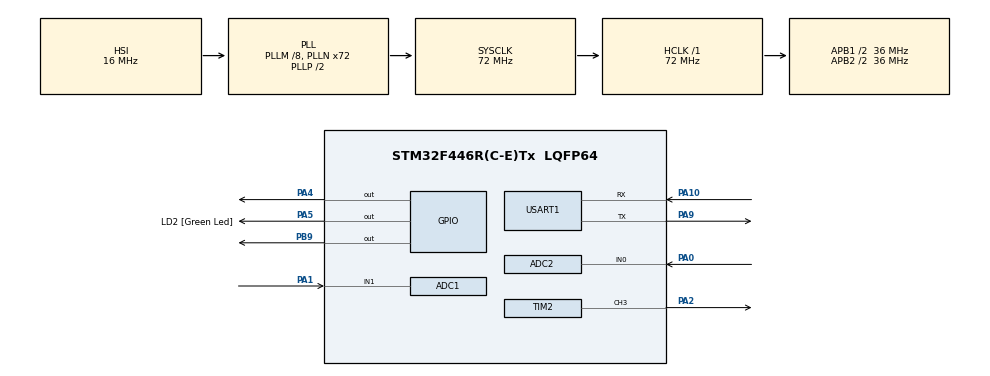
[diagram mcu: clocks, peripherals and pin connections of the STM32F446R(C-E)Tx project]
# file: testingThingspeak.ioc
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ADC1.Channel-0\#ChannelRegularConversion=ADC_CHANNEL_1
ADC1.ClockPrescaler=ADC_CLOCK_SYNC_PCLK_DIV4
ADC1.ContinuousConvMode=ENABLE
ADC1.NbrOfConversionFlag=1
ADC1.Rank-0\#ChannelRegularConversion=1
ADC1.Resolution=ADC_RESOLUTION_10B
ADC1.SamplingTime-0\#ChannelRegularConversion=ADC_SAMPLETIME_3CYCLES
ADC1.master=1
ADC2.Channel-0\#ChannelRegularConversion=ADC_CHANNEL_0
ADC2.ClockPrescaler=ADC_CLOCK_SYNC_PCLK_DIV4
ADC2.ContinuousConvMode=ENABLE
ADC2.NbrOfConversionFlag=1
ADC2.Rank-0\#ChannelRegularConversion=1
ADC2.Resolution=ADC_RESOLUTION_10B
ADC2.SamplingTime-0\#ChannelRegularConversion=ADC_SAMPLETIME_3CYCLES
FREERTOS.Tasks01=defaultTask,0,128,StartDefaultTask,Default,NULL,Dynamic,NULL,NULL;Task2,1,128,Task2_int,Default,NULL,Dynamic,NULL,NULL;Task3,0,128,Task3_int,Default,NULL,Dynamic,NULL,NULL;Task4,0,128,Task4_int,Default,NULL,Dynamic,NULL,NULL
FREERTOS.configUSE_NEWLIB_REENTRANT=0
Mcu.Family=STM32F4
Mcu.Name=STM32F446R(C-E)Tx
Mcu.Package=LQFP64
NVIC.PriorityGroup=NVIC_PRIORITYGROUP_4
NVIC.TIM3_IRQn=true\:15\:0\:false\:false\:true\:false\:false\:true\:true
NVIC.TimeBase=TIM3_IRQn
NVIC.TimeBaseIP=TIM3
NVIC.USART1_IRQn=true\:5\:0\:false\:false\:true\:true\:true\:true\:true
PA0-WKUP.Signal=ADCx_IN0
PA1.Signal=ADCx_IN1
PA10.Mode=Asynchronous
PA10.Signal=USART1_RX
PA13.Mode=Serial_Wire
PA13.Signal=SYS_JTMS-SWDIO
PA14.Mode=Serial_Wire
PA14.Signal=SYS_JTCK-SWCLK
PA2.Signal=S_TIM2_CH3
PA4.Signal=GPIO_Output
PA5.GPIO_Label=LD2 [Green Led]
PA5.Signal=GPIO_Output
PA9.Mode=Asynchronous
PA9.Signal=USART1_TX
PB9.Signal=GPIO_Output
PH0-OSC_IN.Mode=HSE-External-Oscillator
PH0-OSC_IN.Signal=RCC_OSC_IN
PH1-OSC_OUT.Mode=HSE-External-Oscillator
PH1-OSC_OUT.Signal=RCC_OSC_OUT
ProjectManager.HeapSize=0x200
ProjectManager.StackSize=0x400
ProjectManager.TargetToolchain=STM32CubeIDE
RCC.48MHZClocksFreq_Value=84000000
RCC.AHBFreq_Value=72000000
RCC.APB1CLKDivider=RCC_HCLK_DIV2
RCC.APB1Freq_Value=36000000
RCC.APB1TimFreq_Value=72000000
RCC.APB2CLKDivider=RCC_HCLK_DIV2
RCC.APB2Freq_Value=36000000
RCC.APB2TimFreq_Value=72000000
RCC.CortexFreq_Value=72000000
RCC.FLatency-AdvancedSettings=FLASH_LATENCY_2
RCC.HCLKFreq_Value=72000000
RCC.HSE_VALUE=8000000
RCC.HSI_VALUE=16000000
RCC.PLLM=8
RCC.PLLN=72
RCC.SYSCLKFreq_VALUE=72000000
RCC.SYSCLKSource=RCC_SYSCLKSOURCE_PLLCLK
RCC.USBFreq_Value=72000000
RCC.VCOOutputFreq_Value=144000000
SH.ADCx_IN0.0=ADC2_IN0,IN0
SH.ADCx_IN1.0=ADC1_IN1,IN1
SH.S_TIM2_CH3.0=TIM2_CH3,PWM Generation3 CH3
TIM1.Prescaler=71
TIM2.Channel-PWM\ Generation3\ CH3=TIM_CHANNEL_3
USART1.VirtualMode=VM_ASYNC
VP_FREERTOS_VS_CMSIS_V1.Mode=CMSIS_V1
VP_SYS_VS_tim3.Mode=TIM3
VP_TIM1_VS_ClockSourceINT.Mode=Internal
board=NUCLEO-F446RE

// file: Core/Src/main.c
/* USER CODE BEGIN Header */
/**
  ******************************************************************************
  * @file           : main.c
  * @brief          : Main program body
  ******************************************************************************
  * @attention
  *
  * Copyright (c) 2022 STMicroelectronics.
  * All rights reserved.
  *
  * This software is licensed under terms that can be found in the LICENSE file
  * in the root directory of this software component.
  * If no LICENSE file comes with this software, it is provided AS-IS.
  *
  ******************************************************************************
  */
/* USER CODE END Header */
#include "main.h"
#include "cmsis_os.h"

/* USER CODE BEGIN Includes */
#include "UartRingbuffer.h"
#include "ESPDataLogger.h"
#include "stdio.h"
#include "stm32f4xx.h"
/* USER CODE END Includes */

/* USER CODE BEGIN PM */
 TIM_HandleTypeDef htim1;
/* USER CODE END PM */

ADC_HandleTypeDef hadc1;
ADC_HandleTypeDef hadc2;

TIM_HandleTypeDef htim1;
TIM_HandleTypeDef htim2;

UART_HandleTypeDef huart1;

osThreadId defaultTaskHandle;
osThreadId Task2Handle;
osThreadId Task3Handle;
osThreadId Task4Handle;

void SystemClock_Config(void);
static void MX_GPIO_Init(void);
static void MX_ADC1_Init(void);
static void MX_USART1_UART_Init(void);
static void MX_ADC2_Init(void);
static void MX_TIM1_Init(void);
static void MX_TIM2_Init(void);
void StartDefaultTask(void const * argument);
void Task2_int(void const * argument);
void Task3_int(void const * argument);
void Task4_int(void const * argument);

/* USER CODE BEGIN 0 */
#define DHT22_PORT GPIOB
#define DHT22_PIN GPIO_PIN_9
uint8_t RH1, RH2, TC1, TC2, SUM, CHECK;
uint32_t pMillis, cMillis;
float tCelsius = 0;
float tFahrenheit = 0;
float RH = 0;

void microDelay (uint16_t delay)
{
  __HAL_TIM_SET_COUNTER(&htim1, 0);
  while (__HAL_TIM_GET_COUNTER(&htim1) < delay);
}

uint8_t DHT22_Start (void)
{
  uint8_t Response = 0;
  GPIO_InitTypeDef GPIO_InitStructPrivate = {0};
  GPIO_InitStructPrivate.Pin = DHT22_PIN;
  GPIO_InitStructPrivate.Mode = GPIO_MODE_OUTPUT_PP;
  GPIO_InitStructPrivate.Speed = GPIO_SPEED_FREQ_LOW;
  GPIO_InitStructPrivate.Pull = GPIO_NOPULL;
  HAL_GPIO_Init(DHT22_PORT, &GPIO_InitStructPrivate); // set the pin as output
  HAL_GPIO_WritePin (DHT22_PORT, DHT22_PIN, 0);   // pull the pin low
  microDelay (1300);   // wait for 1300us
  HAL_GPIO_WritePin (DHT22_PORT, DHT22_PIN, 1);   // pull the pin high
  microDelay (30);   // wait for 30us
  GPIO_InitStructPrivate.Mode = GPIO_MODE_INPUT;
  GPIO_InitStructPrivate.Pull = GPIO_PULLUP;
  HAL_GPIO_Init(DHT22_PORT, &GPIO_InitStructPrivate); // set the pin as input
  microDelay (40);
  if (!(HAL_GPIO_ReadPin (DHT22_PORT, DHT22_PIN)))
  {
    microDelay (80);
    if ((HAL_GPIO_ReadPin (DHT22_PORT, DHT22_PIN))) Response = 1;
  }
  pMillis = HAL_GetTick();
  cMillis = HAL_GetTick();
  while ((HAL_GPIO_ReadPin (DHT22_PORT, DHT22_PIN)) && pMillis + 2 > cMillis)
  {
    cMillis = HAL_GetTick();
  }
  return Response;
}

uint8_t DHT22_Read (void)
{
  uint8_t a,b;
  for (a=0;a<8;a++)
  {
    pMillis = HAL_GetTick();
    cMillis = HAL_GetTick();
    while (!(HAL_GPIO_ReadPin (DHT22_PORT, DHT22_PIN)) && pMillis + 2 > cMillis)
    {  // wait for the pin to go high
      cMillis = HAL_GetTick();
    }
    microDelay (40);   // wait for 40 us
    if (!(HAL_GPIO_ReadPin (DHT22_PORT, DHT22_PIN)))   // if the pin is low
      b&= ~(1<<(7-a));
    else
      b|= (1<<(7-a));
    pMillis = HAL_GetTick();
    cMillis = HAL_GetTick();
    while ((HAL_GPIO_ReadPin (DHT22_PORT, DHT22_PIN)) && pMillis + 2 > cMillis)
    {  // wait for the pin to go low
      cMillis = HAL_GetTick();
    }
  }
  return b;
}
//#define wifi_uart &huart1
uint16_t ADC_Get_Value(void)
{
	uint16_t val = 0;
	HAL_ADC_Start(&hadc1);
	HAL_ADC_PollForConversion(&hadc1, 100);
	val = HAL_ADC_GetValue(&hadc1);
	HAL_ADC_Stop(&hadc1);
	return val;

}

uint16_t waterLevelSensor(void)
{
	uint16_t val = 0;
	HAL_ADC_Start(&hadc2);
	HAL_ADC_PollForConversion(&hadc2, 100);
	val = HAL_ADC_GetValue(&hadc2);
	HAL_ADC_Stop(&hadc2);
	return val;

}

uint16_t AD_RES = 0, Vamb, DC_Multiplier;
uint16_t ADC_Value = 0;
uint16_t waterLevel;
uint16_t value_buf [4];
/* USER CODE END 0 */

int main(void)
{

  /* MCU Configuration--------------------------------------------------------*/

  /* Reset of all peripherals, Initializes the Flash interface and the Systick. */
  HAL_Init();

  /* Configure the system clock */
  SystemClock_Config();

  /* Initialize all configured peripherals */
  MX_GPIO_Init();
  MX_ADC1_Init();
  MX_USART1_UART_Init();
  MX_ADC2_Init();
  MX_TIM1_Init();
  MX_TIM2_Init();
  HAL_TIM_PWM_Start(&htim2, TIM_CHANNEL_3);
  /* USER CODE BEGIN 2 */

  Vamb = HAL_ADC_GetValue(&hadc1);
  DC_Multiplier = 65535/(4096-Vamb);

  HAL_TIM_Base_Start(&htim1);
  ESP_Init("WIFI_NAME", "WIFI_PASSWORD");

  /* USER CODE END 2 */

  /* Create the thread(s) */
  /* definition and creation of defaultTask */
  osThreadDef(defaultTask, StartDefaultTask, osPriorityNormal, 0, 128);
  defaultTaskHandle = osThreadCreate(osThread(defaultTask), NULL);

  /* definition and creation of Task2 */
  osThreadDef(Task2, Task2_int, osPriorityAboveNormal, 0, 128);
  Task2Handle = osThreadCreate(osThread(Task2), NULL);

  /* definition and creation of Task3 */
  osThreadDef(Task3, Task3_int, osPriorityNormal, 0, 128);
  Task3Handle = osThreadCreate(osThread(Task3), NULL);

  /* definition and creation of Task4 */
  osThreadDef(Task4, Task4_int, osPriorityNormal, 0, 128);
  Task4Handle = osThreadCreate(osThread(Task4), NULL);

  /* Start scheduler */
  osKernelStart();

  /* We should never get here as control is now taken by the scheduler */
  /* Infinite loop */
  while (1)
  {

	     }
}

void SystemClock_Config(void)
{
  RCC_OscInitTypeDef RCC_OscInitStruct = {0};
  RCC_ClkInitTypeDef RCC_ClkInitStruct = {0};

  /** Configure the main internal regulator output voltage
  */
  __HAL_RCC_PWR_CLK_ENABLE();
  __HAL_PWR_VOLTAGESCALING_CONFIG(PWR_REGULATOR_VOLTAGE_SCALE3);

  /** Initializes the RCC Oscillators according to the specified parameters
  * in the RCC_OscInitTypeDef structure.
  */
  RCC_OscInitStruct.OscillatorType = RCC_OSCILLATORTYPE_HSI;
  RCC_OscInitStruct.HSIState = RCC_HSI_ON;
  RCC_OscInitStruct.HSICalibrationValue = RCC_HSICALIBRATION_DEFAULT;
  RCC_OscInitStruct.PLL.PLLState = RCC_PLL_ON;
  RCC_OscInitStruct.PLL.PLLSource = RCC_PLLSOURCE_HSI;
  RCC_OscInitStruct.PLL.PLLM = 8;
  RCC_OscInitStruct.PLL.PLLN = 72;
  RCC_OscInitStruct.PLL.PLLP = RCC_PLLP_DIV2;
  RCC_OscInitStruct.PLL.PLLQ = 2;
  RCC_OscInitStruct.PLL.PLLR = 2;
  if (HAL_RCC_OscConfig(&RCC_OscInitStruct) != HAL_OK)
  {
    Error_Handler();
  }

  /** Initializes the CPU, AHB and APB buses clocks
  */
  RCC_ClkInitStruct.ClockType = RCC_CLOCKTYPE_HCLK|RCC_CLOCKTYPE_SYSCLK
                              |RCC_CLOCKTYPE_PCLK1|RCC_CLOCKTYPE_PCLK2;
  RCC_ClkInitStruct.SYSCLKSource = RCC_SYSCLKSOURCE_PLLCLK;
  RCC_ClkInitStruct.AHBCLKDivider = RCC_SYSCLK_DIV1;
  RCC_ClkInitStruct.APB1CLKDivider = RCC_HCLK_DIV2;
  RCC_ClkInitStruct.APB2CLKDivider = RCC_HCLK_DIV2;

  if (HAL_RCC_ClockConfig(&RCC_ClkInitStruct, FLASH_LATENCY_2) != HAL_OK)
  {
    Error_Handler();
  }
}

static void MX_ADC1_Init(void)
{

  ADC_ChannelConfTypeDef sConfig = {0};

  /** Configure the global features of the ADC (Clock, Resolution, Data Alignment and number of conversion)
  */
  hadc1.Instance = ADC1;
  hadc1.Init.ClockPrescaler = ADC_CLOCK_SYNC_PCLK_DIV4;
  hadc1.Init.Resolution = ADC_RESOLUTION_10B;
  hadc1.Init.ScanConvMode = DISABLE;
  hadc1.Init.ContinuousConvMode = ENABLE;
  hadc1.Init.DiscontinuousConvMode = DISABLE;
  hadc1.Init.ExternalTrigConvEdge = ADC_EXTERNALTRIGCONVEDGE_NONE;
  hadc1.Init.ExternalTrigConv = ADC_SOFTWARE_START;
  hadc1.Init.DataAlign = ADC_DATAALIGN_RIGHT;
  hadc1.Init.NbrOfConversion = 1;
  hadc1.Init.DMAContinuousRequests = DISABLE;
  hadc1.Init.EOCSelection = ADC_EOC_SINGLE_CONV;
  if (HAL_ADC_Init(&hadc1) != HAL_OK)
  {
    Error_Handler();
  }

  /** Configure for the selected ADC regular channel its corresponding rank in the sequencer and its sample time.
  */
  sConfig.Channel = ADC_CHANNEL_1;
  sConfig.Rank = 1;
  sConfig.SamplingTime = ADC_SAMPLETIME_3CYCLES;
  if (HAL_ADC_ConfigChannel(&hadc1, &sConfig) != HAL_OK)
  {
    Error_Handler();
  }

}

static void MX_ADC2_Init(void)
{

  ADC_ChannelConfTypeDef sConfig = {0};

  /** Configure the global features of the ADC (Clock, Resolution, Data Alignment and number of conversion)
  */
  hadc2.Instance = ADC2;
  hadc2.Init.ClockPrescaler = ADC_CLOCK_SYNC_PCLK_DIV4;
  hadc2.Init.Resolution = ADC_RESOLUTION_10B;
  hadc2.Init.ScanConvMode = DISABLE;
  hadc2.Init.ContinuousConvMode = ENABLE;
  hadc2.Init.DiscontinuousConvMode = DISABLE;
  hadc2.Init.ExternalTrigConvEdge = ADC_EXTERNALTRIGCONVEDGE_NONE;
  hadc2.Init.ExternalTrigConv = ADC_SOFTWARE_START;
  hadc2.Init.DataAlign = ADC_DATAALIGN_RIGHT;
  hadc2.Init.NbrOfConversion = 1;
  hadc2.Init.DMAContinuousRequests = DISABLE;
  hadc2.Init.EOCSelection = ADC_EOC_SINGLE_CONV;
  if (HAL_ADC_Init(&hadc2) != HAL_OK)
  {
    Error_Handler();
  }

  /** Configure for the selected ADC regular channel its corresponding rank in the sequencer and its sample time.
  */
  sConfig.Channel = ADC_CHANNEL_0;
  sConfig.Rank = 1;
  sConfig.SamplingTime = ADC_SAMPLETIME_3CYCLES;
  if (HAL_ADC_ConfigChannel(&hadc2, &sConfig) != HAL_OK)
  {
    Error_Handler();
  }

}

static void MX_TIM1_Init(void)
{

  TIM_ClockConfigTypeDef sClockSourceConfig = {0};
  TIM_MasterConfigTypeDef sMasterConfig = {0};

  htim1.Instance = TIM1;
  htim1.Init.Prescaler = 71;
  htim1.Init.CounterMode = TIM_COUNTERMODE_UP;
  htim1.Init.Period = 65535;
  htim1.Init.ClockDivision = TIM_CLOCKDIVISION_DIV1;
  htim1.Init.RepetitionCounter = 0;
  htim1.Init.AutoReloadPreload = TIM_AUTORELOAD_PRELOAD_DISABLE;
  if (HAL_TIM_Base_Init(&htim1) != HAL_OK)
  {
    Error_Handler();
  }
  sClockSourceConfig.ClockSource = TIM_CLOCKSOURCE_INTERNAL;
  if (HAL_TIM_ConfigClockSource(&htim1, &sClockSourceConfig) != HAL_OK)
  {
    Error_Handler();
  }
  sMasterConfig.MasterOutputTrigger = TIM_TRGO_RESET;
  sMasterConfig.MasterSlaveMode = TIM_MASTERSLAVEMODE_DISABLE;
  if (HAL_TIMEx_MasterConfigSynchronization(&htim1, &sMasterConfig) != HAL_OK)
  {
    Error_Handler();
  }

}

static void MX_TIM2_Init(void)
{

  TIM_MasterConfigTypeDef sMasterConfig = {0};
  TIM_OC_InitTypeDef sConfigOC = {0};

  htim2.Instance = TIM2;
  htim2.Init.Prescaler = 0;
  htim2.Init.CounterMode = TIM_COUNTERMODE_UP;
  htim2.Init.Period = 4294967295;
  htim2.Init.ClockDivision = TIM_CLOCKDIVISION_DIV1;
  htim2.Init.AutoReloadPreload = TIM_AUTORELOAD_PRELOAD_DISABLE;
  if (HAL_TIM_PWM_Init(&htim2) != HAL_OK)
  {
    Error_Handler();
  }
  sMasterConfig.MasterOutputTrigger = TIM_TRGO_RESET;
  sMasterConfig.MasterSlaveMode = TIM_MASTERSLAVEMODE_DISABLE;
  if (HAL_TIMEx_MasterConfigSynchronization(&htim2, &sMasterConfig) != HAL_OK)
  {
    Error_Handler();
  }
  sConfigOC.OCMode = TIM_OCMODE_PWM1;
  sConfigOC.Pulse = 0;
  sConfigOC.OCPolarity = TIM_OCPOLARITY_HIGH;
  sConfigOC.OCFastMode = TIM_OCFAST_DISABLE;
  if (HAL_TIM_PWM_ConfigChannel(&htim2, &sConfigOC, TIM_CHANNEL_3) != HAL_OK)
  {
    Error_Handler();
  }
  HAL_TIM_MspPostInit(&htim2);

}

static void MX_USART1_UART_Init(void)
{

  huart1.Instance = USART1;
  huart1.Init.BaudRate = 115200;
  huart1.Init.WordLength = UART_WORDLENGTH_8B;
  huart1.Init.StopBits = UART_STOPBITS_1;
  huart1.Init.Parity = UART_PARITY_NONE;
  huart1.Init.Mode = UART_MODE_TX_RX;
  huart1.Init.HwFlowCtl = UART_HWCONTROL_NONE;
  huart1.Init.OverSampling = UART_OVERSAMPLING_16;
  if (HAL_UART_Init(&huart1) != HAL_OK)
  {
    Error_Handler();
  }

}

static void MX_GPIO_Init(void)
{
  GPIO_InitTypeDef GPIO_InitStruct = {0};

  /* GPIO Ports Clock Enable */
  __HAL_RCC_GPIOH_CLK_ENABLE();
  __HAL_RCC_GPIOA_CLK_ENABLE();
  __HAL_RCC_GPIOB_CLK_ENABLE();

  /*Configure GPIO pin Output Level */
  HAL_GPIO_WritePin(GPIOA, GPIO_PIN_4|LD2_Pin, GPIO_PIN_RESET);

  /*Configure GPIO pin Output Level */
  HAL_GPIO_WritePin(GPIOB, GPIO_PIN_9, GPIO_PIN_RESET);

  /*Configure GPIO pins : PA4 LD2_Pin */
  GPIO_InitStruct.Pin = GPIO_PIN_4|LD2_Pin;
  GPIO_InitStruct.Mode = GPIO_MODE_OUTPUT_PP;
  GPIO_InitStruct.Pull = GPIO_NOPULL;
  GPIO_InitStruct.Speed = GPIO_SPEED_FREQ_LOW;
  HAL_GPIO_Init(GPIOA, &GPIO_InitStruct);

  /*Configure GPIO pin : PB9 */
  GPIO_InitStruct.Pin = GPIO_PIN_9;
  GPIO_InitStruct.Mode = GPIO_MODE_OUTPUT_PP;
  GPIO_InitStruct.Pull = GPIO_NOPULL;
  GPIO_InitStruct.Speed = GPIO_SPEED_FREQ_LOW;
  HAL_GPIO_Init(GPIOB, &GPIO_InitStruct);

}

void StartDefaultTask(void const * argument)
{
  for(;;)
  {
    osDelay(1);
  }
}

void Task2_int(void const * argument)
{
  /* USER CODE BEGIN Task2_int */
  /* Infinite loop */
  for(;;)
  {
	  if (DHT22_Start())
	 	      {
	 	        RH1 = DHT22_Read(); // First 8bits of humidity
	 	        RH2 = DHT22_Read(); // Second 8bits of Relative humidity
	 	        TC1 = DHT22_Read(); // First 8bits of Celsius
	 	        TC2 = DHT22_Read(); // Second 8bits of Celsius
	 	        SUM = DHT22_Read(); // Check sum
	 	        CHECK = RH1 + RH2 + TC1 + TC2;
	 	        if (CHECK == SUM)
	 	        {
	 	          if (TC1>127) // If TC1=10000000, negative temperature
	 	          {
	 	            tCelsius = (float)TC2/10*(-1);
	 	          }
	 	          else
	 	          {
	 	            tCelsius = (float)((TC1<<8)|TC2)/10;
	 	          }
	 	          tFahrenheit = tCelsius * 9/5 + 32;
	 	          RH = (float) ((RH1<<8)|RH2)/10;
	 	        }
	 	      }
	 	      HAL_Delay(1000);

	  waterLevel = waterLevelSensor();
	  ADC_Value = ADC_Get_Value();

	  value_buf[0] = ADC_Value;
	  value_buf[1] = tCelsius;
	  value_buf[2] = waterLevel;
	  value_buf[3] = RH;

	  ESP_Send_Multi("WRITE_API_KEY", 4, value_buf);

	  HAL_Delay(15);
    osDelay(1);
  }
  /* USER CODE END Task2_int */
}

void Task3_int(void const * argument)
{
  /* USER CODE BEGIN Task3_int */
  /* Infinite loop */
  for(;;)
  {

	AD_RES = HAL_ADC_GetValue(&hadc1);
	TIM2->CCR1 = (AD_RES-Vamb)*DC_Multiplier;

    osDelay(1);
  }
  /* USER CODE END Task3_int */
}

void Task4_int(void const * argument)
{
  /* USER CODE BEGIN Task4_int */
  /* Infinite loop */
  for(;;)
  {
	  if (tCelsius > 32){
		  if (RH < 80){
			  HAL_GPIO_WritePin(GPIOA,GPIO_PIN_5,GPIO_PIN_SET);
			  HAL_Delay(10000); //motor run for 10s (for demo only)
			  HAL_GPIO_WritePin(GPIOA,GPIO_PIN_5,GPIO_PIN_RESET);
			  HAL_Delay(10000); //motor stop for 10s
		  }
		  else {
			  HAL_GPIO_WritePin(GPIOA,GPIO_PIN_5,GPIO_PIN_SET);
			  HAL_Delay(8000); //motor run for 8s (for demo only)
			  HAL_GPIO_WritePin(GPIOA,GPIO_PIN_5,GPIO_PIN_RESET);
			  HAL_Delay(10000); //motor stop for 10s
		  }
	  }
	  else {
		  if (RH < 80){
			  HAL_GPIO_WritePin(GPIOA,GPIO_PIN_5,GPIO_PIN_SET);
			  HAL_Delay(6000); //motor run for 6s (for demo only)
			  HAL_GPIO_WritePin(GPIOA,GPIO_PIN_5,GPIO_PIN_RESET);
			  HAL_Delay(10000); //motor stop for 10s
		  }
		  else {
			  HAL_GPIO_WritePin(GPIOA,GPIO_PIN_5,GPIO_PIN_SET);
			  HAL_Delay(4000); //motor run for 4s (for demo only)
			  HAL_GPIO_WritePin(GPIOA,GPIO_PIN_5,GPIO_PIN_RESET);
			  HAL_Delay(10000); //motor stop for 10s

		  }

	  }
	//motor pump water for 10 min in a hour
	/*HAL_GPIO_WritePin(GPIOA,GPIO_PIN_5,GPIO_PIN_SET);
	HAL_Delay(6000); //motor run for 10 min
	HAL_GPIO_WritePin(GPIOA,GPIO_PIN_5,GPIO_PIN_RESET);
	HAL_Delay(3000); //motor stop for 50 min
	*/
    osDelay(1);
  }
  /* USER CODE END Task4_int */
}

void HAL_TIM_PeriodElapsedCallback(TIM_HandleTypeDef *htim)
{
  if (htim->Instance == TIM3) {
    HAL_IncTick();
  }
}

void Error_Handler(void)
{
  __disable_irq();
  while (1)
  {
  }
}
